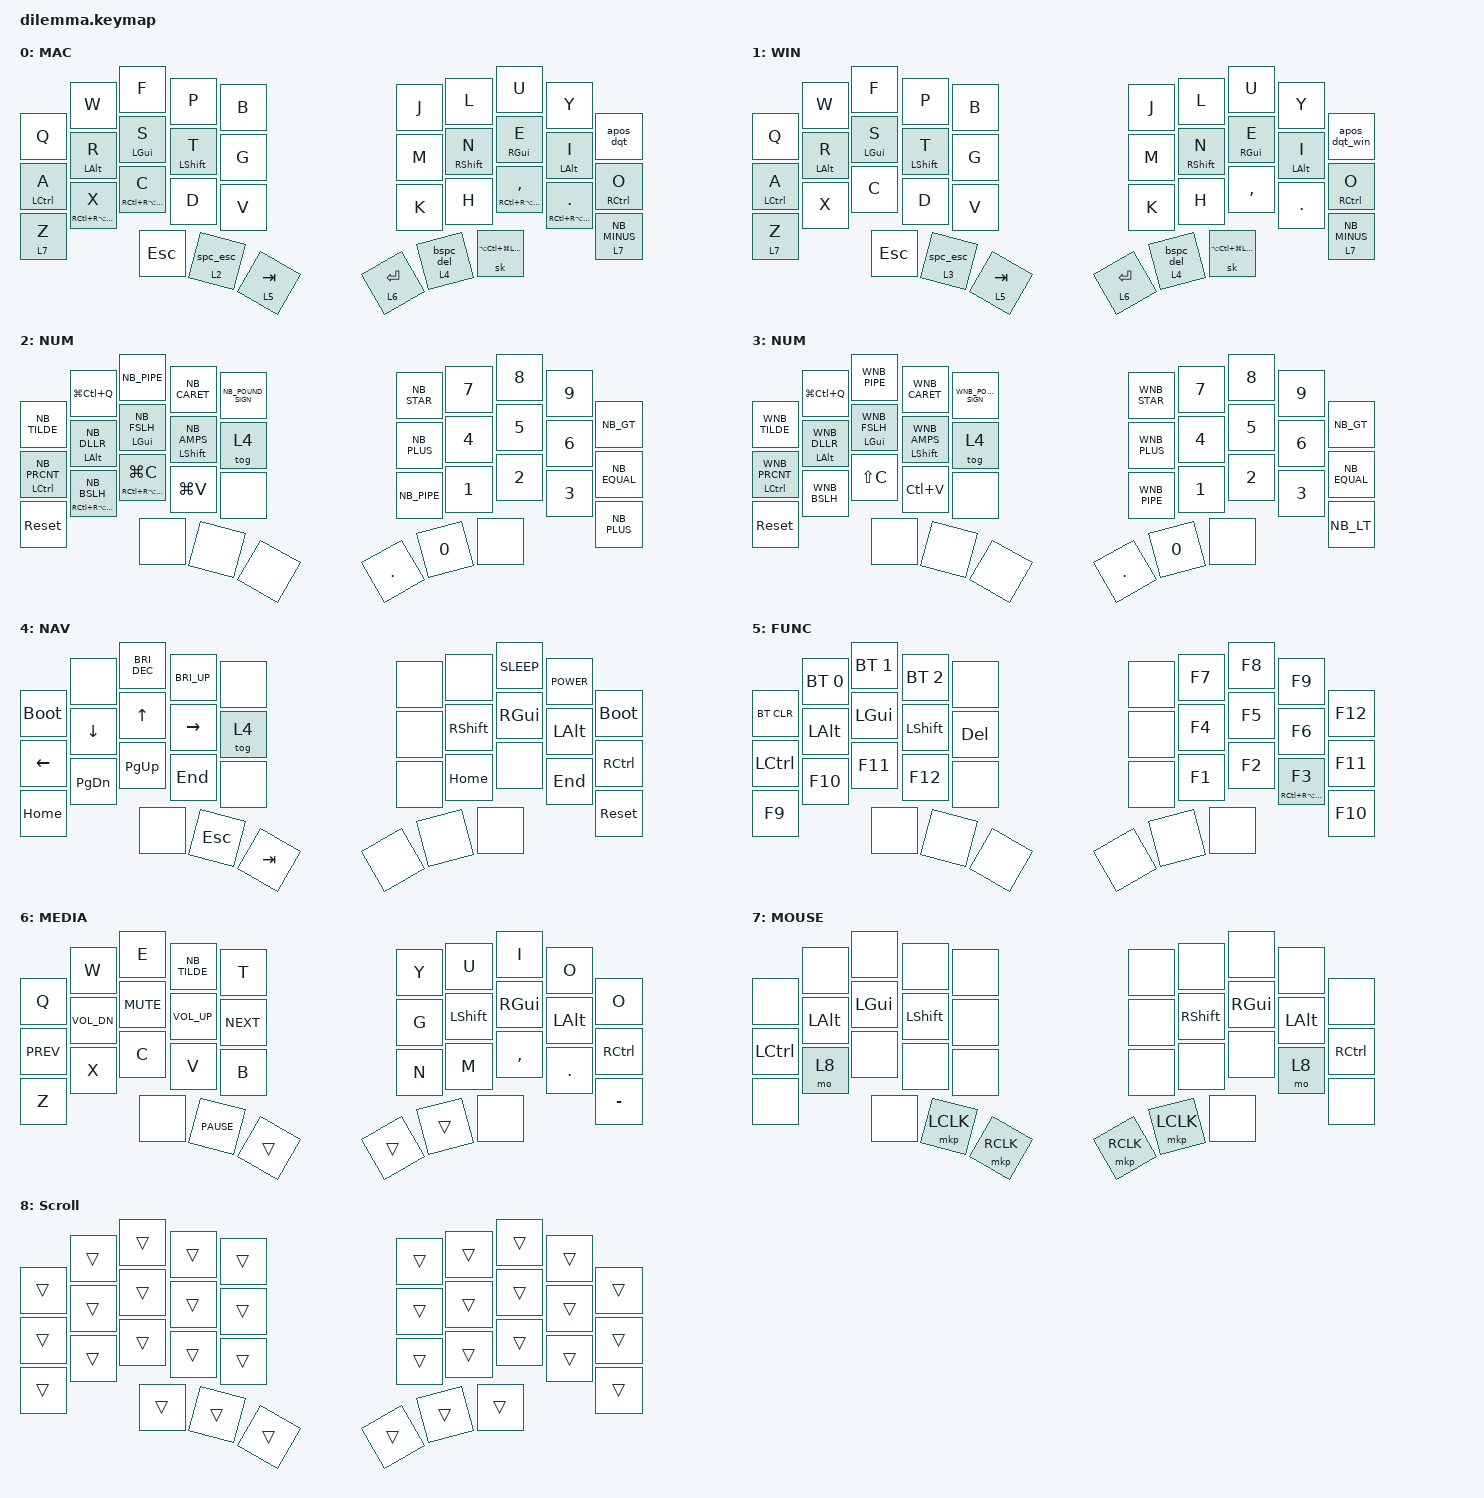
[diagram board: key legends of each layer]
/*
 * Copyright (c) 2024 The ZMK Contributors
 *
 * SPDX-License-Identifier: MIT
 */
#include "keys_nb_osx.h"
#include "keys_nb_win.h"

#include <behaviors.dtsi>
#include <dt-bindings/zmk/bt.h>
#include <dt-bindings/zmk/keys.h>
#include <dt-bindings/zmk/pointing.h>
#include <dt-bindings/zmk/rgb.h>
#include "combos.dtsi"

// Mod combos used by the home-row mods, matching cnano-dongle/config/common.dtsi
#define MEH RC(RA(RCMD))
#define HYP RC(RA(RS(RCMD)))

#define WIN 1
#define SYMBOLS 2
#define NUMBERS 3
#define NAV 4
#define FUNCTION 5
#define BLUETOOTH 6
#define MOUSE 7
#define CLICK 8
#define SCRL 9
#define BIRO 10

&caps_word { 
    continue-list = <NB_UNDERSCORE NB_MINUS WNB_UNDERSCORE WNB_MINUS BACKSPACE DEL>; 
    };

// Change sticky key defaults

&sk {
    release-after-ms = <2000>;
    quick-release;
};

&lt { quick-tap-ms = <175>; };


/ {
        behaviors {
        hml: hml {
            compatible = "zmk,behavior-hold-tap";
            #binding-cells = <2>;
            flavor = "balanced";
            tapping-term-ms = <280>;
            quick-tap-ms = <175>;                // repeat on tap-into-hold
            bindings = <&kp>, <&kp>;
            require-prior-idle-ms = <150>;

            hold-trigger-key-positions = <5 6 7 8 9 15 16 17 18 19 25 26 27 28 29 33 34 31 32>;
            hold-trigger-on-release;
        };

        hmr: hmr {
            compatible = "zmk,behavior-hold-tap";
            #binding-cells = <2>;
            flavor = "balanced";
            tapping-term-ms = <280>;
            quick-tap-ms = <175>;                // repeat on tap-into-hold
            bindings = <&kp>, <&kp>;
            require-prior-idle-ms = <150>;

            hold-trigger-key-positions = <0 1 2 3 4 10 11 12 13 14 20 21 22 23 24 30 31 32 34 33>;
            hold-trigger-on-release;
        };

        lsscw: layer_sticky_shift_caps_word {
            compatible = "zmk,behavior-hold-tap";
            #binding-cells = <2>;
            flavor = "balanced";
            tapping-term-ms = <200>;
            bindings = <&mo>, <&sscw>;
        };

        tt: toggle_layer_tap {
            compatible = "zmk,behavior-hold-tap";
            #binding-cells = <2>;
            tapping-term-ms = <250>;
            flavor = "tap-preferred";
            bindings = <&kp>, <&tog>;
        };

        blt: balanced_layer_tap {
            compatible = "zmk,behavior-hold-tap";
            #binding-cells = <2>;
            tapping-term-ms = <160>;
            quick-tap-ms = <0>;
            flavor = "balanced";
            bindings = <&mo>, <&kp>;
        };

        repeat_encoder: repeat_encoder {
            compatible = "zmk,behavior-sensor-rotate";
            #sensor-binding-cells = <0>;
            bindings = <&kp BSPC>, <&key_repeat>;
        };

        tkp_fast: behavior_trackball_key_press {
            compatible = "zmk,behavior-point-device-directional";
            #trackball-binding-cells = <4>;
            mode = "distance-mode";
            flavor = "2-dim";
            step_size = <50>;
        };

        lt_bspc: layer_tap_bspc_del {
            compatible = "zmk,behavior-hold-tap";
            #binding-cells = <2>;
            bindings = <&mo>, <&bspc_del>;

            tapping-term-ms = <200>;
            quick-tap-ms = <175>;
        };

        shift_layer: shift_layer {
            compatible = "zmk,behavior-hold-tap";
            #binding-cells = <2>;
            bindings = <&mo>, <&sk>;

            tapping-term-ms = <200>;
            flavor = "hold-preferred";
            quick-tap-ms = <100>;
        };

        lt_spcesc: layer_tap_space_esc {
            compatible = "zmk,behavior-hold-tap";
            #binding-cells = <2>;
            bindings = <&mo>, <&spc_esc>;

            tapping-term-ms = <200>;
            quick-tap-ms = <175>;
        };

        apos_dqt: quot_doublequot {
            compatible = "zmk,behavior-mod-morph";
            #binding-cells = <0>;
            bindings = <&kp NB_SINGLE_QUOTE>, <&kp NB_DQT>;

            mods = <(MOD_LSFT|MOD_RSFT)>;
        };

        apos_dqt_win: quot_doublequot_win {
            compatible = "zmk,behavior-mod-morph";
            #binding-cells = <0>;
            bindings = <&kp WNB_APOS>, <&kp WNB_DQT>;

            mods = <(MOD_LSFT|MOD_RSFT)>;
        };

        sscw: sticky_shift_caps_word {
            compatible = "zmk,behavior-mod-morph";
            #binding-cells = <0>;
            bindings = <&sk LSHIFT>, <&caps_word>;

            mods = <(MOD_LSFT|MOD_RSFT)>;
        };

        ques_excl: questionmark_exlamation_mark {
            compatible = "zmk,behavior-mod-morph";
            #binding-cells = <0>;
            bindings = <&kp NB_QMARK>, <&kp NB_EXCL>;

            mods = <(MOD_LSFT|MOD_RSFT)>;
        };

        paras: paras {
            compatible = "zmk,behavior-mod-morph";
            bindings = <&kp NB_LPAR>, <&kp NB_RPAR>;

            #binding-cells = <0>;
            mods = <(MOD_LSFT)>;
        };

        squares: squares {
            compatible = "zmk,behavior-mod-morph";
            bindings = <&kp WNB_LBKT>, <&kp WNB_RBKT>;

            #binding-cells = <0>;
            mods = <(MOD_LSFT)>;
        };

        curles: curles {
            compatible = "zmk,behavior-mod-morph";
            bindings = <&kp NB_LBRC>, <&kp NB_RBRC>;

            #binding-cells = <0>;
            mods = <(MOD_RSFT)>;
        };

        curles_win: curles_win {
            compatible = "zmk,behavior-mod-morph";
            bindings = <&kp WNB_LBRC>, <&kp WNB_RBRC>;

            #binding-cells = <0>;
            mods = <(MOD_RSFT)>;
        };

        crocs: crocs {
            compatible = "zmk,behavior-mod-morph";
            bindings = <&kp NB_GT>, <&kp NB_LT>;

            #binding-cells = <0>;
            mods = <(MOD_RSFT)>;
        };

        shift_space: shift_space {
            compatible = "zmk,behavior-mod-morph";
            bindings = <&kp SPACE>, <&kp ESC>;

            #binding-cells = <0>;
            mods = <(MOD_RSFT)>;
        };

        bspc_del: backspace_delete {
            compatible = "zmk,behavior-mod-morph";
            #binding-cells = <0>;
            bindings = <&kp BACKSPACE>, <&kp DELETE>;

            mods = <(MOD_LSFT|MOD_RSFT)>;
            keep-mods = <(MOD_RSFT)>;
        };

        spc_esc: spc_esc {
            compatible = "zmk,behavior-mod-morph";
            bindings = <&kp SPACE>, <&kp ESC>;

            #binding-cells = <0>;
            mods = <(MOD_RSFT)>;
            keep-mods = <(MOD_RSFT)>;
        };

        hml_shift: hml_shift {
            compatible = "zmk,behavior-hold-tap";
            #binding-cells = <2>;
            flavor = "balanced";
            tapping-term-ms = <200>;
            quick-tap-ms = <175>;
            bindings = <&kp>, <&kp>;

            hold-trigger-key-positions = <5 6 7 8 9 15 16 17 18 19 25 26 27 28 29 33 34 31 32>;
            hold-trigger-on-release;
            label = "HML_SHIFT";
        };

        hmr_shift: hmr_shift {
            compatible = "zmk,behavior-hold-tap";
            #binding-cells = <2>;
            flavor = "balanced";
            tapping-term-ms = <200>;
            quick-tap-ms = <175>;
            bindings = <&kp>, <&kp>;

            hold-trigger-key-positions = <0 1 2 3 4 10 11 12 13 14 20 21 22 23 24 30 31 32 34 33>;
            hold-trigger-on-release;
            label = "HMR_SHIFT";
        };
    };
    keymap {
        compatible = "zmk,keymap";


        default {
            bindings = <
  &kp Q         &kp W        &kp F        &kp P         &kp B     &kp J  &kp L         &kp U           &kp Y         &apos_dqt
  &hml LCTRL A  &hml LALT R  &hml LGUI S  &hml LSHFT T  &kp G     &kp M  &hmr RSHFT N  &hmr RGUI E     &hmr LALT I   &hmr RCTRL O
  &lt 7 Z       &hml MEH X   &hml HYP C   &kp D         &kp V     &kp K  &kp H         &hmr HYP COMMA  &hmr MEH DOT  &lt 7 NB_MINUS
                             &kp ESC      &lt_spcesc 2 0  &blt 5 TAB     &lt 6 ENTER  &lt_bspc 4 0  &sk LA(LC(LG(LEFT_SHIFT)))
            >;

            display-name = "MAC";
            label = "MAC";
        };

        win {
            bindings = <
  &kp Q         &kp W        &kp F        &kp P         &kp B     &kp J  &kp L         &kp U        &kp Y        &apos_dqt_win
  &hml LCTRL A  &hml LALT R  &hml LGUI S  &hml LSHFT T  &kp G     &kp M  &hmr RSHFT N  &hmr RGUI E  &hmr LALT I  &hmr RCTRL O
  &lt 7 Z       &kp X        &kp C        &kp D         &kp V     &kp K  &kp H         &kp COMMA    &kp DOT      &lt 7 NB_MINUS
                             &kp ESC      &lt_spcesc 3 0  &blt 5 TAB     &lt 6 ENTER  &lt_bspc 4 0  &sk LA(LC(LG(LEFT_SHIFT)))
            >;

            display-name = "WIN";
            label = "WIN";
        };

        numbers {
            bindings = <
  &kp NB_TILDE         &kp LG(LC(Q))      &kp NB_PIPE        &kp NB_CARET        &kp NB_POUND_SIGN     &kp NB_STAR  &kp N7  &kp N8  &kp N9  &kp NB_GT
  &hml LCTRL NB_PRCNT  &hml LALT NB_DLLR  &hml LGUI NB_FSLH  &hml LSHFT NB_AMPS  &tog 4                &kp NB_PLUS  &kp N4  &kp N5  &kp N6  &kp NB_EQUAL
  &sys_reset           &hml MEH NB_BSLH   &hml HYP LG(C)     &kp LG(V)           &none                 &kp NB_PIPE  &kp N1  &kp N2  &kp N3  &kp NB_PLUS
                                          &none              &none               &none                 &kp DOT      &kp N0  &none
            >;

            display-name = "NUM";
            label = "NUM";
        };

        num_win {
            bindings = <
  &kp WNB_TILDE         &kp LG(LC(Q))       &kp WNB_PIPE        &kp WNB_CARET        &kp WNB_POUND_SIGN     &kp WNB_STAR  &kp N7  &kp N8  &kp N9  &kp NB_GT
  &hml LCTRL WNB_PRCNT  &hml LALT WNB_DLLR  &hml LGUI WNB_FSLH  &hml LSHFT WNB_AMPS  &tog 4                 &kp WNB_PLUS  &kp N4  &kp N5  &kp N6  &kp NB_EQUAL
  &sys_reset            &kp WNB_BSLH        &kp LS(C)           &kp LC(V)            &none                  &kp WNB_PIPE  &kp N1  &kp N2  &kp N3  &kp NB_LT
                                            &none               &none                &none                  &kp DOT       &kp N0  &none
            >;

            display-name = "NUM";
            label = "NUW";
        };

        nav {
            bindings = <
  &bootloader  &none      &kp C_BRI_DEC  &kp C_BRI_UP  &none      &none  &none      &kp C_SLEEP  &kp C_POWER  &bootloader
  &kp LEFT     &kp DOWN   &kp UP         &kp RIGHT     &tog 4     &none  &kp RSHFT  &kp RGUI     &kp LALT     &kp RCTRL
  &kp HOME     &kp PG_DN  &kp PG_UP      &kp END       &none      &none  &kp HOME   &none        &kp END      &sys_reset
                          &none          &kp ESC       &kp TAB     &none  &none      &none
            >;

            display-name = "NAV";
            label = "NAV";
        };

        fn {
            bindings = <
  &bt BT_CLR  &bt BT_SEL 0  &bt BT_SEL 1  &bt BT_SEL 2  &none       &none  &kp F7  &kp F8  &kp F9       &kp F12
  &kp LCTRL   &kp LALT      &kp LGUI      &kp LSHIFT    &kp DEL     &none  &kp F4  &kp F5  &kp F6       &kp F11
  &kp F9      &kp F10       &kp F11       &kp F12       &none       &none  &kp F1  &kp F2  &hmr MEH F3  &kp F10
                            &none         &none         &none       &none  &none   &none
            >;

            display-name = "FUNC";
            label = "FUN";
        };

        controls {
            bindings = <
  &kp Q       &kp W         &kp E       &kp NB_TILDE  &kp T          &kp Y  &kp U      &kp I      &kp O     &kp O
  &kp C_PREV  &kp C_VOL_DN  &kp C_MUTE  &kp C_VOL_UP  &kp C_NEXT     &kp G  &kp LSHFT  &kp RGUI   &kp LALT  &kp RCTRL
  &kp Z       &kp X         &kp C       &kp V         &kp B          &kp N  &kp M      &kp COMMA  &kp DOT   &kp MINUS
                            &none       &kp C_PAUSE   &trans         &trans  &trans     &none
            >;

            display-name = "MEDIA";
            label = "MED";
        };

        mouse {
            bindings = <
  &none      &none     &none     &none       &none     &none  &none      &none     &none     &none
  &kp LCTRL  &kp LALT  &kp LGUI  &kp LSHIFT  &none     &none  &kp RSHFT  &kp RGUI  &kp LALT  &kp RCTRL
  &none      &mo 8     &none     &none       &none     &none  &none      &none     &mo 8     &none
                       &none     &mkp LCLK   &mkp RCLK     &mkp RCLK  &mkp LCLK  &none
            >;

            display-name = "MOUSE";
            label = "MOUS";
        };

        // Scroll layer: while held, trackpad motion scrolls instead of
        // moving the cursor (see the scroller node on the input listener).
        // All keys transparent so the underlying layer still types.
        scrolly_moly {
            bindings = <
  &trans  &trans  &trans  &trans  &trans     &trans  &trans  &trans  &trans  &trans
  &trans  &trans  &trans  &trans  &trans     &trans  &trans  &trans  &trans  &trans
  &trans  &trans  &trans  &trans  &trans     &trans  &trans  &trans  &trans  &trans
                  &trans  &trans  &trans     &trans  &trans  &trans
            >;

            display-name = "Scroll";
        };
    };
};
